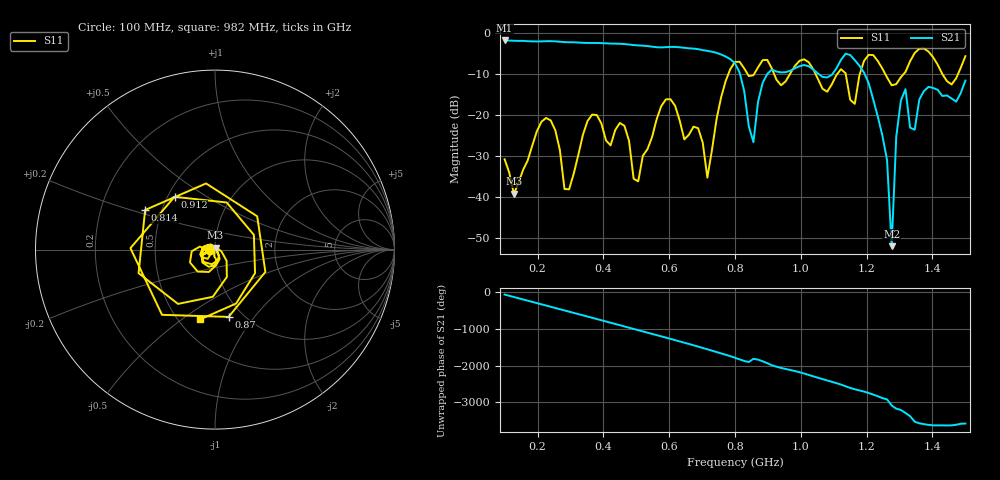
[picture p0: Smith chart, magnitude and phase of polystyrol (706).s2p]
! NanoVNA-App
! Date: 2025-09-25 15:35:22
! Start: 100MHz Stop: 1,5GHz Points: 101
! S-Parameter data: F S11 S21 S12 S22
# Hz S RI R 50
!  Frequency  S11_Real  S11_Imag  S21_Real  S21_Imag  S12_Real  S12_Imag  S22_Real  S22_Imag
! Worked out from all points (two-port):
!   101 points, 100 MHz to 1.5 GHz, reference 50 ohm
!   highest |S21| = -1.80 dB at 100 MHz (marker M1); lowest = -51.9 dB at 1.276 GHz (marker M2)
!   |S21| within 3 dB of the highest: start of sweep to 743.2 MHz
!   lowest |S11| = -39.1 dB at 128 MHz (marker M3), VSWR 1.02, Z = 50.3 + j1.06 ohm
!   |S11| at or under -10 dB: start of sweep to 779.8 MHz; 1.045 GHz to 1.11 GHz (65.37 MHz wide, 6.07 % of centre); 1.257 GHz to 1.312 GHz (55.43 MHz wide, 4.32 % of centre) (the widest 3 of 7)
!   S12 and S22 are empty: the file has one direction only
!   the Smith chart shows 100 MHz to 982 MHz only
!   S11 on the Smith chart (normalised r, x): 100 MHz: 0.94, -0.01; 814 MHz: 0.40, +0.22; 870 MHz: 0.86, -0.75; 912 MHz: 0.54, +0.37; 982 MHz: 0.63, -0.59
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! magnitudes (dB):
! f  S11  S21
! 100 MHz  -30.7  -1.8
! 128 MHz  -39.1  -1.9
! 212 MHz  -21.6  -2.0
! 282 MHz  -38.0  -2.2
! 338 MHz  -24.7  -2.4
! 506 MHz  -36.1  -3.0
! 576 MHz  -17.8  -3.5
! 716 MHz  -35.2  -4.3
! 800 MHz  -7.0  -7.3
! 814 MHz  -7.0  -9.6
! 856 MHz  -10.3  -26.5
! 870 MHz  -8.3  -16.7
! 912 MHz  -8.6  -8.9
! 982 MHz  -8.0  -8.6
! 1.038 GHz  -8.8  -8.9
! 1.164 GHz  -17.2  -6.6
! 1.206 GHz  -5.3  -12.2
! 1.262 GHz  -10.8  -30.9
! 1.276 GHz  -12.7  -51.9
! 1.29 GHz  -12.4  -25.2
! 1.318 GHz  -9.5  -13.7
! 1.5 GHz  -5.6  -11.6
